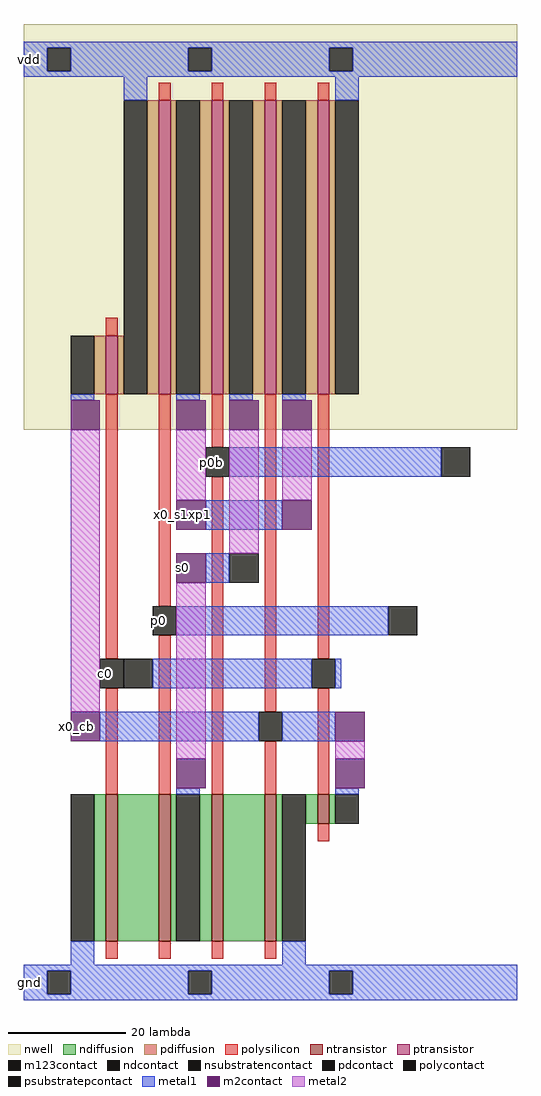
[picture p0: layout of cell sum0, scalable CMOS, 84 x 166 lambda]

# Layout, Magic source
magic
tech scmos
<< nwell >>
rect 0 97 84 166
<< ntransistor >>
rect 14 10 16 35
rect 23 10 25 35
rect 32 10 34 35
rect 41 10 43 35
rect 50 30 52 35
<< ptransistor >>
rect 14 103 16 113
rect 23 103 25 153
rect 32 103 34 153
rect 41 103 43 153
rect 50 103 52 153
<< ndiffusion >>
rect 12 10 14 35
rect 16 10 23 35
rect 25 10 26 35
rect 30 10 32 35
rect 34 10 41 35
rect 43 10 44 35
rect 48 30 50 35
rect 52 30 53 35
<< pdiffusion >>
rect 12 103 14 113
rect 16 103 17 113
rect 21 103 23 153
rect 25 103 26 153
rect 30 103 32 153
rect 34 103 35 153
rect 39 103 41 153
rect 43 103 44 153
rect 48 103 50 153
rect 52 103 53 153
<< ndcontact >>
rect 8 10 12 35
rect 26 10 30 35
rect 44 10 48 35
rect 53 30 57 35
<< pdcontact >>
rect 8 103 12 113
rect 17 103 21 153
rect 26 103 30 153
rect 35 103 39 153
rect 44 103 48 153
rect 53 103 57 153
<< psubstratepcontact >>
rect 4 1 8 5
rect 28 1 32 5
rect 52 1 56 5
<< nsubstratencontact >>
rect 4 158 8 162
rect 28 158 32 162
rect 52 158 56 162
<< polysilicon >>
rect 23 153 25 156
rect 32 153 34 156
rect 41 153 43 156
rect 50 153 52 156
rect 14 113 16 116
rect 14 58 16 103
rect 23 67 25 103
rect 32 94 34 103
rect 14 35 16 53
rect 23 35 25 62
rect 32 35 34 89
rect 41 49 43 103
rect 50 58 52 103
rect 41 35 43 44
rect 50 35 52 53
rect 50 27 52 30
rect 14 7 16 10
rect 23 7 25 10
rect 32 7 34 10
rect 41 7 43 10
<< polycontact >>
rect 31 89 35 94
rect 22 62 26 67
rect 13 53 17 58
rect 49 53 53 58
rect 40 44 44 49
<< metal1 >>
rect 0 162 84 163
rect 0 158 4 162
rect 8 158 28 162
rect 32 158 52 162
rect 56 158 84 162
rect 0 157 84 158
rect 17 153 21 157
rect 53 153 57 157
rect 8 102 12 103
rect 26 102 30 103
rect 35 102 39 103
rect 44 102 48 103
rect 35 89 71 94
rect 31 80 44 85
rect 31 71 35 76
rect 26 62 62 67
rect 22 53 49 58
rect 53 53 54 58
rect 13 44 40 49
rect 44 44 53 49
rect 26 35 30 36
rect 53 35 57 36
rect 8 6 12 10
rect 44 6 48 10
rect 0 5 84 6
rect 0 1 4 5
rect 8 1 28 5
rect 32 1 52 5
rect 56 1 84 5
rect 0 0 84 1
<< m2contact >>
rect 8 97 13 102
rect 26 97 31 102
rect 35 97 40 102
rect 44 97 49 102
rect 26 80 31 85
rect 44 80 49 85
rect 26 71 31 76
rect 8 44 13 49
rect 53 44 58 49
rect 26 36 31 41
rect 53 36 58 41
<< metal2 >>
rect 8 49 13 97
rect 26 85 31 97
rect 35 76 40 97
rect 44 85 49 97
rect 26 41 31 71
rect 53 41 58 44
<< m123contact >>
rect 71 89 76 94
rect 35 71 40 76
rect 17 53 22 58
rect 62 62 67 67
<< labels >>
rlabel metal1 13 53 15 58 0 c0
port 1 nsew
rlabel metal1 22 62 24 67 0 p0
port 2 nsew
rlabel metal1 31 89 33 94 0 p0b
port 3 nsew
rlabel m2contact 26 71 28 76 0 s0
port 4 nsew
rlabel m2contact 8 44 10 49 0 x0_cb
rlabel m2contact 26 80 28 85 0 x0_s1xp1
rlabel metal1 0 157 2 163 0 vdd
port 5 nsew
rlabel metal1 0 0 2 6 0 gnd
port 6 nsew
<< end >>
